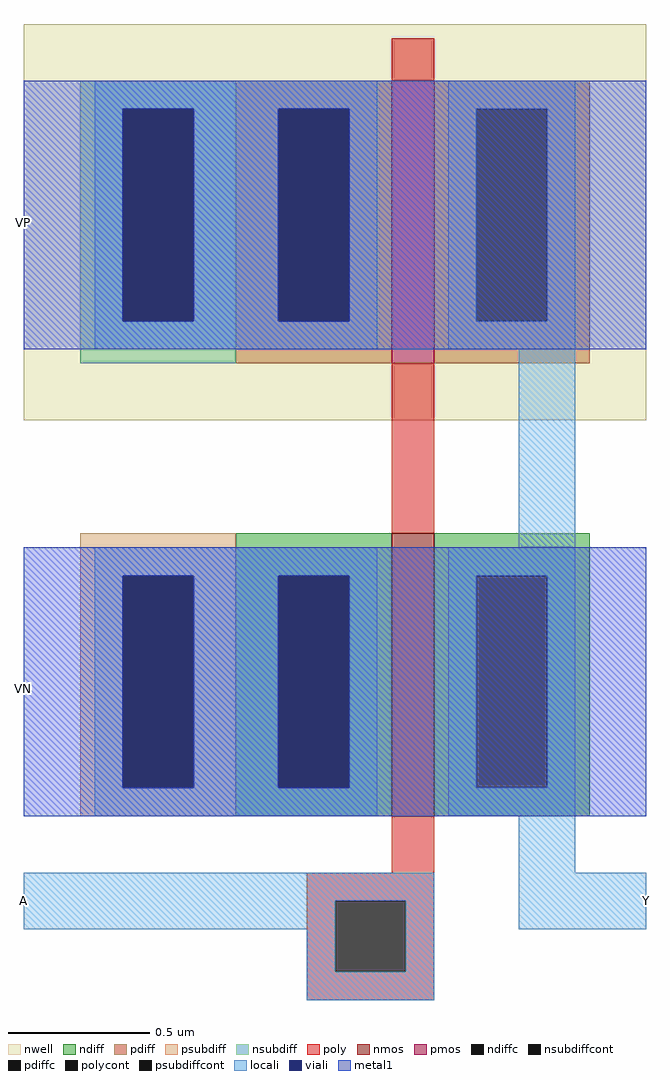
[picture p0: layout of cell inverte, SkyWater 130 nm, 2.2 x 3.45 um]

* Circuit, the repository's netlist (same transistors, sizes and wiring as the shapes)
* NGSPICE file created from inverte.ext - technology: sky130A

.subckt inverte A Y VP VN
X0 Y A VP VP sky130_fd_pr__pfet_01v8 ad=0.55 pd=3.1 as=0.55 ps=3.1 w=1 l=0.15
X1 Y A VN VN sky130_fd_pr__nfet_01v8 ad=0.55 pd=3.1 as=0.55 ps=3.1 w=1 l=0.15
.ends

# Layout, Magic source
magic
tech sky130A
<< nwell >>
rect -110 175 110 315
<< nmos >>
rect 20 35 35 135
<< pmos >>
rect 20 195 35 295
<< ndiff >>
rect -35 120 20 135
rect -35 45 -20 120
rect 5 45 20 120
rect -35 35 20 45
rect 35 120 90 135
rect 35 45 50 120
rect 75 45 90 120
rect 35 35 90 45
<< pdiff >>
rect -35 285 20 295
rect -35 210 -20 285
rect 5 210 20 285
rect -35 195 20 210
rect 35 285 90 295
rect 35 210 50 285
rect 75 210 90 285
rect 35 195 90 210
<< ndiffc >>
rect -20 45 5 120
rect 50 45 75 120
<< pdiffc >>
rect -20 210 5 285
rect 50 210 75 285
<< psubdiff >>
rect -90 120 -35 135
rect -90 45 -75 120
rect -50 45 -35 120
rect -90 35 -35 45
<< nsubdiff >>
rect -90 285 -35 295
rect -90 210 -75 285
rect -50 210 -35 285
rect -90 195 -35 210
<< psubdiffcont >>
rect -75 45 -50 120
<< nsubdiffcont >>
rect -75 210 -50 285
<< poly >>
rect 20 295 35 310
rect 20 135 35 195
rect 20 15 35 35
rect -10 5 35 15
rect -10 -20 0 5
rect 25 -20 35 5
rect -10 -30 35 -20
<< polycont >>
rect 0 -20 25 5
<< locali >>
rect -85 285 15 295
rect -85 210 -75 285
rect -50 210 -20 285
rect 5 210 15 285
rect -85 200 15 210
rect 40 285 85 295
rect 40 210 50 285
rect 75 210 85 285
rect 40 200 85 210
rect 65 130 85 200
rect -85 120 15 130
rect -85 45 -75 120
rect -50 45 -20 120
rect 5 45 15 120
rect -85 35 15 45
rect 40 120 85 130
rect 40 45 50 120
rect 75 45 85 120
rect 40 35 85 45
rect 65 15 85 35
rect -110 5 35 15
rect -110 -5 0 5
rect -10 -20 0 -5
rect 25 -20 35 5
rect 65 -5 110 15
rect -10 -30 35 -20
<< viali >>
rect -75 210 -50 285
rect -20 210 5 285
rect -75 45 -50 120
rect -20 45 5 120
<< metal1 >>
rect -110 285 110 295
rect -110 210 -75 285
rect -50 210 -20 285
rect 5 210 110 285
rect -110 200 110 210
rect -110 120 110 130
rect -110 45 -75 120
rect -50 45 -20 120
rect 5 45 110 120
rect -110 35 110 45
<< labels >>
rlabel locali 110 5 110 5 3 Y
port 2 e
rlabel locali -110 5 -110 5 7 A
port 1 w
rlabel metal1 -110 80 -110 80 7 VN
port 4 w
rlabel metal1 -110 245 -110 245 7 VP
port 3 w
<< end >>
